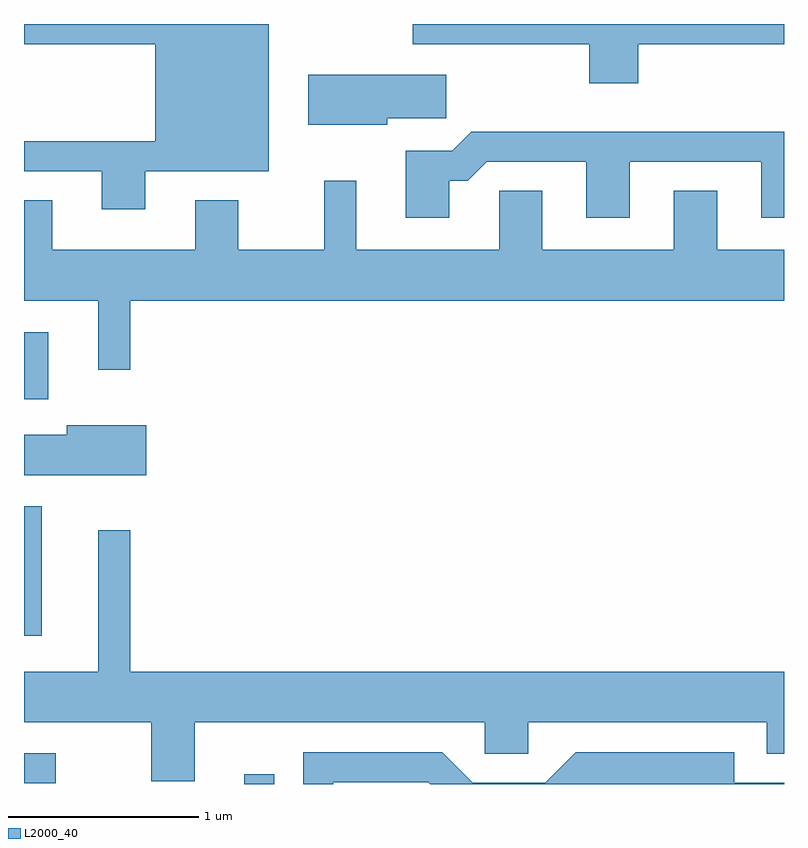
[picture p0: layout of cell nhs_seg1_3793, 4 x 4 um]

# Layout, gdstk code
import gdstk
lib = gdstk.Library(unit=1e-6, precision=1e-09)
def R(c, l, rs):  # rectangles x0, y0, x1, y1
    for r in rs: c.add(gdstk.rectangle(r[:2], r[2:], *l))
def P(c, l, *ps):  # polygons
    for p in ps: c.add(gdstk.Polygon(p, *l))
L2000_40 = (2000, 40)

nhs_seg1_3793 = lib.new_cell('nhs_seg1_3793')
R(nhs_seg1_3793, L2000_40, [(300.771,883.712,300.929,883.763), (299.611,883.716,299.778,883.874), (299.611,884.493,299.704,885.174), (299.611,885.736,299.739,886.089)])
P(nhs_seg1_3793, L2000_40, [(300.249,886.936),(300.899,886.936),(300.899,887.712),(299.611,887.712),(299.611,887.606),(300.301,887.606),(300.301,887.094),(299.611,887.094),(299.611,886.936),(300.021,886.936),(300.021,886.736),(300.249,886.736)],
  [(302.844,887.606),(303.611,887.606),(303.611,887.712),(301.656,887.712),(301.656,887.606),(302.586,887.606),(302.586,887.401),(302.844,887.401)],
  [(301.524,887.216),(301.834,887.216),(301.834,887.444),(301.106,887.444),(301.106,887.181),(301.524,887.181)],
  [(301.849,886.886),(301.947,886.886),(302.047,886.986),(302.571,886.986),(302.571,886.691),(302.799,886.691),(302.799,886.986),(303.491,886.986),(303.491,886.691),(303.611,886.691),(303.611,887.144),(301.964,887.144),(301.864,887.044),(301.621,887.044),(301.621,886.691),(301.849,886.691)],
  [(300.169,886.256),(303.611,886.256),(303.611,886.524),(303.259,886.524),(303.259,886.834),(303.031,886.834),(303.031,886.524),(302.339,886.524),(302.339,886.834),(302.111,886.834),(302.111,886.524),(301.359,886.524),(301.359,886.888),(301.191,886.888),(301.191,886.524),(300.739,886.524),(300.739,886.784),(300.511,886.784),(300.511,886.524),(299.759,886.524),(299.759,886.784),(299.611,886.784),(299.611,886.256),(300.001,886.256),(300.001,885.893),(300.169,885.893)],
  [(300.254,885.599),(299.836,885.599),(299.836,885.549),(299.611,885.549),(299.611,885.336),(300.254,885.336)],
  [(300.509,884.036),(302.036,884.036),(302.036,883.871),(302.264,883.871),(302.264,884.036),(303.521,884.036),(303.521,883.871),(303.611,883.871),(303.611,884.304),(300.169,884.304),(300.169,885.048),(300.001,885.048),(300.001,884.304),(299.611,884.304),(299.611,884.036),(300.281,884.036),(300.281,883.726),(300.509,883.726)],
  [(301.239,883.721),(301.739,883.721),(301.748,883.712),(303.611,883.712),(303.611,883.719),(303.349,883.719),(303.349,883.879),(302.514,883.879),(302.354,883.719),(301.972,883.719),(301.812,883.879),(301.081,883.879),(301.081,883.712),(301.239,883.712)])

lib.write_gds('nhs_seg1_3793.gds')
